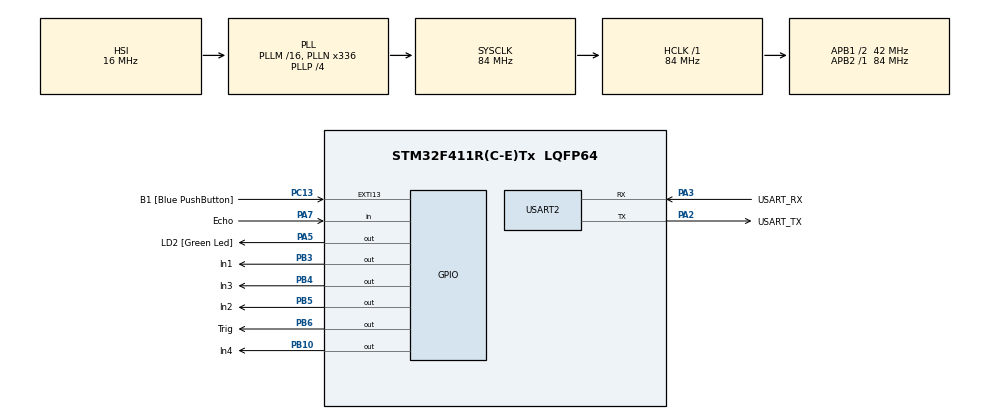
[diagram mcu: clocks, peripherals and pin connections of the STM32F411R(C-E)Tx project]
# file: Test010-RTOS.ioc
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FREERTOS.BinarySemaphores01=myBinarySem01,Dynamic,NULL
FREERTOS.Tasks01=myTask01,0,128,myStartTask01,Default,NULL,Dynamic,NULL,NULL;myTask02,-1,128,myStartTask02,Default,NULL,Dynamic,NULL,NULL;myTask03,-2,128,myStartTask03,Default,NULL,Dynamic,NULL,NULL;myTask04,-3,512,myStartTask04,Default,NULL,Dynamic,NULL,NULL
FREERTOS.configUSE_NEWLIB_REENTRANT=1
Mcu.Family=STM32F4
Mcu.Name=STM32F411R(C-E)Tx
Mcu.Package=LQFP64
NVIC.EXTI15_10_IRQn=true\:5\:0\:false\:false\:true\:true\:true\:true\:true
NVIC.PriorityGroup=NVIC_PRIORITYGROUP_4
NVIC.TIM1_UP_TIM10_IRQn=true\:5\:0\:false\:false\:true\:false\:false\:true\:true
NVIC.TimeBase=TIM1_UP_TIM10_IRQn
NVIC.TimeBaseIP=TIM10
PA13.GPIO_Label=TMS
PA13.Mode=Serial_Wire
PA13.Signal=SYS_JTMS-SWDIO
PA14.GPIO_Label=TCK
PA14.Mode=Serial_Wire
PA14.Signal=SYS_JTCK-SWCLK
PA2.GPIO_Label=USART_TX
PA2.Mode=Asynchronous
PA2.Signal=USART2_TX
PA3.GPIO_Label=USART_RX
PA3.Mode=Asynchronous
PA3.Signal=USART2_RX
PA5.GPIO_Label=LD2 [Green Led]
PA5.Signal=GPIO_Output
PA7.GPIO_Label=Echo
PA7.Signal=GPIO_Input
PB10.GPIO_Label=In4
PB10.Signal=GPIO_Output
PB3.GPIO_Label=In1
PB3.Signal=GPIO_Output
PB4.GPIO_Label=In3
PB4.Signal=GPIO_Output
PB5.GPIO_Label=In2
PB5.Signal=GPIO_Output
PB6.GPIO_Label=Trig
PB6.Signal=GPIO_Output
PC13-ANTI_TAMP.GPIO_Label=B1 [Blue PushButton]
PC13-ANTI_TAMP.GPIO_ModeDefaultEXTI=GPIO_MODE_IT_FALLING
PC13-ANTI_TAMP.Signal=GPXTI13
PC14-OSC32_IN.Mode=LSE-External-Oscillator
PC14-OSC32_IN.Signal=RCC_OSC32_IN
PC15-OSC32_OUT.Mode=LSE-External-Oscillator
PC15-OSC32_OUT.Signal=RCC_OSC32_OUT
PH0\ -\ OSC_IN.Mode=HSE-External-Clock-Source
PH0\ -\ OSC_IN.Signal=RCC_OSC_IN
PH1\ -\ OSC_OUT.Mode=HSE-External-Clock-Source
PH1\ -\ OSC_OUT.Signal=RCC_OSC_OUT
ProjectManager.HeapSize=0x200
ProjectManager.StackSize=0x400
ProjectManager.TargetToolchain=STM32CubeIDE
RCC.48MHZClocksFreq_Value=84000000
RCC.AHBFreq_Value=84000000
RCC.APB1CLKDivider=RCC_HCLK_DIV2
RCC.APB1Freq_Value=42000000
RCC.APB1TimFreq_Value=84000000
RCC.APB2Freq_Value=84000000
RCC.APB2TimFreq_Value=84000000
RCC.CortexFreq_Value=84000000
RCC.FLatency-AdvancedSettings=FLASH_LATENCY_2
RCC.HCLKFreq_Value=84000000
RCC.HSE_VALUE=8000000
RCC.HSI_VALUE=16000000
RCC.PLLN=336
RCC.PLLP=RCC_PLLP_DIV4
RCC.SYSCLKFreq_VALUE=84000000
RCC.SYSCLKSource=RCC_SYSCLKSOURCE_PLLCLK
RCC.VCOOutputFreq_Value=336000000
TIM2.Prescaler=84-1
USART2.VirtualMode=VM_ASYNC
VP_FREERTOS_VS_CMSIS_V1.Mode=CMSIS_V1
VP_SYS_VS_tim10.Mode=TIM10
VP_TIM2_VS_ClockSourceINT.Mode=Internal
board=NUCLEO-F411RE

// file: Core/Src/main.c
/* USER CODE BEGIN Header */
/**
  ******************************************************************************
  * @file           : main.c
  * @brief          : Main program body
  ******************************************************************************
  * @attention
  *
  * Copyright (c) 2025 STMicroelectronics.
  * All rights reserved.
  *
  * This software is licensed under terms that can be found in the LICENSE file
  * in the root directory of this software component.
  * If no LICENSE file comes with this software, it is provided AS-IS.
  *
  ******************************************************************************
  */
/* USER CODE END Header */
#include "main.h"
#include "cmsis_os.h"

/* USER CODE BEGIN Includes */
#include "C:\Users\user\source\repos\STM32\myLib\Inc\uSonic.h"
/* USER CODE END Includes */

TIM_HandleTypeDef htim2;

UART_HandleTypeDef huart2;

osThreadId myTask01Handle;
osThreadId myTask02Handle;
osThreadId myTask03Handle;
osThreadId myTask04Handle;
osSemaphoreId myBinarySem01Handle;

void SystemClock_Config(void);
static void MX_GPIO_Init(void);
static void MX_USART2_UART_Init(void);
static void MX_TIM2_Init(void);
void myStartTask01(void const * argument);
void myStartTask02(void const * argument);
void myStartTask03(void const * argument);
void myStartTask04(void const * argument);

/* USER CODE BEGIN 0 */
int mode = 0, bn = 0;
double dist = 1000;
void HAL_GPIO_EXTI_Callback(uint16_t GPIO_Pin)
{
	//printf("B1 button pressed..... %d times\r\n", bn++);
	/*bn++;
	mode = 1;*/

	//osSemaphoreRelease(myBinarySem01Handle);
}

void LD2Test() {
	HAL_GPIO_TogglePin(LD2_GPIO_Port, LD2_Pin);
}
/* USER CODE END 0 */

int main(void)
{

  /* MCU Configuration--------------------------------------------------------*/

  /* Reset of all peripherals, Initializes the Flash interface and the Systick. */
  HAL_Init();

  /* Configure the system clock */
  SystemClock_Config();

  /* Initialize all configured peripherals */
  MX_GPIO_Init();
  MX_USART2_UART_Init();
  MX_TIM2_Init();

  /* Create the semaphores(s) */
  /* definition and creation of myBinarySem01 */
  osSemaphoreDef(myBinarySem01);
  myBinarySem01Handle = osSemaphoreCreate(osSemaphore(myBinarySem01), 1);

  /* Create the thread(s) */
  /* definition and creation of myTask01 */
  osThreadDef(myTask01, myStartTask01, osPriorityNormal, 0, 128);
  myTask01Handle = osThreadCreate(osThread(myTask01), NULL);

  /* definition and creation of myTask02 */
  osThreadDef(myTask02, myStartTask02, osPriorityBelowNormal, 0, 128);
  myTask02Handle = osThreadCreate(osThread(myTask02), NULL);

  /* definition and creation of myTask03 */
  osThreadDef(myTask03, myStartTask03, osPriorityLow, 0, 128);
  myTask03Handle = osThreadCreate(osThread(myTask03), NULL);

  /* definition and creation of myTask04 */
  osThreadDef(myTask04, myStartTask04, osPriorityIdle, 0, 512);
  myTask04Handle = osThreadCreate(osThread(myTask04), NULL);

  /* USER CODE BEGIN RTOS_THREADS */
  /* add threads, ... */
  ProgramStart("RTOS test.........");
  HAL_TIM_Base_Start(&htim2);
  /* USER CODE END RTOS_THREADS */

  /* Start scheduler */
  osKernelStart();

  /* We should never get here as control is now taken by the scheduler */
  /* Infinite loop */
  /* USER CODE BEGIN WHILE */
  while (1)
  {
	  LD2Test();
	  //HAL_Delay(500);	Don't use HAL_Delay (RTOS)
	  osDelay(500);
    /* USER CODE END WHILE */

  }
}

void SystemClock_Config(void)
{
  RCC_OscInitTypeDef RCC_OscInitStruct = {0};
  RCC_ClkInitTypeDef RCC_ClkInitStruct = {0};

  /** Configure the main internal regulator output voltage
  */
  __HAL_RCC_PWR_CLK_ENABLE();
  __HAL_PWR_VOLTAGESCALING_CONFIG(PWR_REGULATOR_VOLTAGE_SCALE1);

  /** Initializes the RCC Oscillators according to the specified parameters
  * in the RCC_OscInitTypeDef structure.
  */
  RCC_OscInitStruct.OscillatorType = RCC_OSCILLATORTYPE_HSI;
  RCC_OscInitStruct.HSIState = RCC_HSI_ON;
  RCC_OscInitStruct.HSICalibrationValue = RCC_HSICALIBRATION_DEFAULT;
  RCC_OscInitStruct.PLL.PLLState = RCC_PLL_ON;
  RCC_OscInitStruct.PLL.PLLSource = RCC_PLLSOURCE_HSI;
  RCC_OscInitStruct.PLL.PLLM = 16;
  RCC_OscInitStruct.PLL.PLLN = 336;
  RCC_OscInitStruct.PLL.PLLP = RCC_PLLP_DIV4;
  RCC_OscInitStruct.PLL.PLLQ = 4;
  if (HAL_RCC_OscConfig(&RCC_OscInitStruct) != HAL_OK)
  {
    Error_Handler();
  }

  /** Initializes the CPU, AHB and APB buses clocks
  */
  RCC_ClkInitStruct.ClockType = RCC_CLOCKTYPE_HCLK|RCC_CLOCKTYPE_SYSCLK
                              |RCC_CLOCKTYPE_PCLK1|RCC_CLOCKTYPE_PCLK2;
  RCC_ClkInitStruct.SYSCLKSource = RCC_SYSCLKSOURCE_PLLCLK;
  RCC_ClkInitStruct.AHBCLKDivider = RCC_SYSCLK_DIV1;
  RCC_ClkInitStruct.APB1CLKDivider = RCC_HCLK_DIV2;
  RCC_ClkInitStruct.APB2CLKDivider = RCC_HCLK_DIV1;

  if (HAL_RCC_ClockConfig(&RCC_ClkInitStruct, FLASH_LATENCY_2) != HAL_OK)
  {
    Error_Handler();
  }
}

static void MX_TIM2_Init(void)
{

  TIM_ClockConfigTypeDef sClockSourceConfig = {0};
  TIM_MasterConfigTypeDef sMasterConfig = {0};

  htim2.Instance = TIM2;
  htim2.Init.Prescaler = 84-1;
  htim2.Init.CounterMode = TIM_COUNTERMODE_UP;
  htim2.Init.Period = 4294967295;
  htim2.Init.ClockDivision = TIM_CLOCKDIVISION_DIV1;
  htim2.Init.AutoReloadPreload = TIM_AUTORELOAD_PRELOAD_DISABLE;
  if (HAL_TIM_Base_Init(&htim2) != HAL_OK)
  {
    Error_Handler();
  }
  sClockSourceConfig.ClockSource = TIM_CLOCKSOURCE_INTERNAL;
  if (HAL_TIM_ConfigClockSource(&htim2, &sClockSourceConfig) != HAL_OK)
  {
    Error_Handler();
  }
  sMasterConfig.MasterOutputTrigger = TIM_TRGO_RESET;
  sMasterConfig.MasterSlaveMode = TIM_MASTERSLAVEMODE_DISABLE;
  if (HAL_TIMEx_MasterConfigSynchronization(&htim2, &sMasterConfig) != HAL_OK)
  {
    Error_Handler();
  }

}

static void MX_USART2_UART_Init(void)
{

  huart2.Instance = USART2;
  huart2.Init.BaudRate = 115200;
  huart2.Init.WordLength = UART_WORDLENGTH_8B;
  huart2.Init.StopBits = UART_STOPBITS_1;
  huart2.Init.Parity = UART_PARITY_NONE;
  huart2.Init.Mode = UART_MODE_TX_RX;
  huart2.Init.HwFlowCtl = UART_HWCONTROL_NONE;
  huart2.Init.OverSampling = UART_OVERSAMPLING_16;
  if (HAL_UART_Init(&huart2) != HAL_OK)
  {
    Error_Handler();
  }

}

static void MX_GPIO_Init(void)
{
  GPIO_InitTypeDef GPIO_InitStruct = {0};

  /* GPIO Ports Clock Enable */
  __HAL_RCC_GPIOC_CLK_ENABLE();
  __HAL_RCC_GPIOH_CLK_ENABLE();
  __HAL_RCC_GPIOA_CLK_ENABLE();
  __HAL_RCC_GPIOB_CLK_ENABLE();

  /*Configure GPIO pin Output Level */
  HAL_GPIO_WritePin(LD2_GPIO_Port, LD2_Pin, GPIO_PIN_RESET);

  /*Configure GPIO pin Output Level */
  HAL_GPIO_WritePin(GPIOB, In4_Pin|In1_Pin|In3_Pin|In2_Pin
                          |Trig_Pin, GPIO_PIN_RESET);

  /*Configure GPIO pin : B1_Pin */
  GPIO_InitStruct.Pin = B1_Pin;
  GPIO_InitStruct.Mode = GPIO_MODE_IT_FALLING;
  GPIO_InitStruct.Pull = GPIO_NOPULL;
  HAL_GPIO_Init(B1_GPIO_Port, &GPIO_InitStruct);

  /*Configure GPIO pin : LD2_Pin */
  GPIO_InitStruct.Pin = LD2_Pin;
  GPIO_InitStruct.Mode = GPIO_MODE_OUTPUT_PP;
  GPIO_InitStruct.Pull = GPIO_NOPULL;
  GPIO_InitStruct.Speed = GPIO_SPEED_FREQ_LOW;
  HAL_GPIO_Init(LD2_GPIO_Port, &GPIO_InitStruct);

  /*Configure GPIO pin : Echo_Pin */
  GPIO_InitStruct.Pin = Echo_Pin;
  GPIO_InitStruct.Mode = GPIO_MODE_INPUT;
  GPIO_InitStruct.Pull = GPIO_NOPULL;
  HAL_GPIO_Init(Echo_GPIO_Port, &GPIO_InitStruct);

  /*Configure GPIO pins : In4_Pin In1_Pin In3_Pin In2_Pin
                           Trig_Pin */
  GPIO_InitStruct.Pin = In4_Pin|In1_Pin|In3_Pin|In2_Pin
                          |Trig_Pin;
  GPIO_InitStruct.Mode = GPIO_MODE_OUTPUT_PP;
  GPIO_InitStruct.Pull = GPIO_NOPULL;
  GPIO_InitStruct.Speed = GPIO_SPEED_FREQ_LOW;
  HAL_GPIO_Init(GPIOB, &GPIO_InitStruct);

  /* EXTI interrupt init*/
  HAL_NVIC_SetPriority(EXTI15_10_IRQn, 5, 0);
  HAL_NVIC_EnableIRQ(EXTI15_10_IRQn);

}

void myStartTask01(void const * argument)
{
  /* USER CODE BEGIN 5 */
	//int n1 = 0;
  /* Infinite loop */
  for(;;)
  {
	/*LD2Test();
	//HAL_Delay(500);
	Cursor(0, 0);
	printf("LD2 flashed %d times(Task1)\r\n", n1++);
    osDelay(500);*/
	if(osSemaphoreWait(myBinarySem01Handle, 0) == osOK) { // running time is lower than 80ms
		dist = Distance();
		//printf("Task01 (Normal)=====\r\n");
		osSemaphoreRelease(myBinarySem01Handle);
	}
	osDelay(100);
  }
  /* USER CODE END 5 */
}

void myStartTask02(void const * argument)
{
  /* USER CODE BEGIN myStartTask02 */
	//int n2 = 0;
  /* Infinite loop */
  for(;;)
  {
	//Cursor(0, 10);
	/*printf("Input Degree : ");
	scanf("%d", &n2);
	int step = 4096 * n2 / 360;
	printf("Wave(Full) : %d steps, Half : %d steps", step / 2, step);*/

	/*if(mode) {
		printf("B1 button pressed..... %d times", bn);
		if(++t1 > 10) {
			mode = 0;
			t1 = 0;
		}
		else {
			printf("                              ");
		}
	}*/

	/*if(mode) {
		mode = 0;
		for(int i = 0; i < 64 * bn; i++) {
			HAL_GPIO_WritePin(In1_GPIO_Port, In1_Pin, 1);
			HAL_GPIO_WritePin(In2_GPIO_Port, In2_Pin, 0);
			HAL_GPIO_WritePin(In3_GPIO_Port, In3_Pin, 0);
			HAL_GPIO_WritePin(In4_GPIO_Port, In4_Pin, 0);
			osDelay(10);

			HAL_GPIO_WritePin(In1_GPIO_Port, In1_Pin, 1);
			HAL_GPIO_WritePin(In2_GPIO_Port, In2_Pin, 1);
			HAL_GPIO_WritePin(In3_GPIO_Port, In3_Pin, 0);
			HAL_GPIO_WritePin(In4_GPIO_Port, In4_Pin, 0);
			osDelay(10);

			HAL_GPIO_WritePin(In1_GPIO_Port, In1_Pin, 0);
			HAL_GPIO_WritePin(In2_GPIO_Port, In2_Pin, 1);
			HAL_GPIO_WritePin(In3_GPIO_Port, In3_Pin, 0);
			HAL_GPIO_WritePin(In4_GPIO_Port, In4_Pin, 0);
			osDelay(10);

			HAL_GPIO_WritePin(In1_GPIO_Port, In1_Pin, 0);
			HAL_GPIO_WritePin(In2_GPIO_Port, In2_Pin, 1);
			HAL_GPIO_WritePin(In3_GPIO_Port, In3_Pin, 1);
			HAL_GPIO_WritePin(In4_GPIO_Port, In4_Pin, 0);
			osDelay(10);

			HAL_GPIO_WritePin(In1_GPIO_Port, In1_Pin, 0);
			HAL_GPIO_WritePin(In2_GPIO_Port, In2_Pin, 0);
			HAL_GPIO_WritePin(In3_GPIO_Port, In3_Pin, 1);
			HAL_GPIO_WritePin(In4_GPIO_Port, In4_Pin, 0);
			osDelay(10);

			HAL_GPIO_WritePin(In1_GPIO_Port, In1_Pin, 0);
			HAL_GPIO_WritePin(In2_GPIO_Port, In2_Pin, 0);
			HAL_GPIO_WritePin(In3_GPIO_Port, In3_Pin, 1);
			HAL_GPIO_WritePin(In4_GPIO_Port, In4_Pin, 1);
			osDelay(10);

			HAL_GPIO_WritePin(In1_GPIO_Port, In1_Pin, 0);
			HAL_GPIO_WritePin(In2_GPIO_Port, In2_Pin, 0);
			HAL_GPIO_WritePin(In3_GPIO_Port, In3_Pin, 0);
			HAL_GPIO_WritePin(In4_GPIO_Port, In4_Pin, 1);
			osDelay(10);

			HAL_GPIO_WritePin(In1_GPIO_Port, In1_Pin, 1);
			HAL_GPIO_WritePin(In2_GPIO_Port, In2_Pin, 0);
			HAL_GPIO_WritePin(In3_GPIO_Port, In3_Pin, 0);
			HAL_GPIO_WritePin(In4_GPIO_Port, In4_Pin, 1);
			osDelay(10);
		}
		bn = 0;
	}
	else {
		HAL_GPIO_WritePin(In1_GPIO_Port, In1_Pin, 0);
		HAL_GPIO_WritePin(In2_GPIO_Port, In2_Pin, 0);
		HAL_GPIO_WritePin(In3_GPIO_Port, In3_Pin, 0);
		HAL_GPIO_WritePin(In4_GPIO_Port, In4_Pin, 0);
		osDelay(10);
	}
    osDelay(1);*/

	if(osSemaphoreWait(myBinarySem01Handle, 0) == osOK) {
		//printf("Task02 (BelowNormal)----\r\n");

		if(dist < 150.0) {
			int degree = (dist > 75.0) ? 1 : 2;
			for(int i = 0; i < 64 * degree; i++) {
				HAL_GPIO_WritePin(In1_GPIO_Port, In1_Pin, 1);
				HAL_GPIO_WritePin(In2_GPIO_Port, In2_Pin, 0);
				HAL_GPIO_WritePin(In3_GPIO_Port, In3_Pin, 0);
				HAL_GPIO_WritePin(In4_GPIO_Port, In4_Pin, 0);
				HAL_Delay(5);

				HAL_GPIO_WritePin(In1_GPIO_Port, In1_Pin, 0);
				HAL_GPIO_WritePin(In2_GPIO_Port, In2_Pin, 1);
				HAL_GPIO_WritePin(In3_GPIO_Port, In3_Pin, 0);
				HAL_GPIO_WritePin(In4_GPIO_Port, In4_Pin, 0);
				HAL_Delay(5);

				HAL_GPIO_WritePin(In1_GPIO_Port, In1_Pin, 0);
				HAL_GPIO_WritePin(In2_GPIO_Port, In2_Pin, 0);
				HAL_GPIO_WritePin(In3_GPIO_Port, In3_Pin, 1);
				HAL_GPIO_WritePin(In4_GPIO_Port, In4_Pin, 0);
				HAL_Delay(5);

				HAL_GPIO_WritePin(In1_GPIO_Port, In1_Pin, 0);
				HAL_GPIO_WritePin(In2_GPIO_Port, In2_Pin, 0);
				HAL_GPIO_WritePin(In3_GPIO_Port, In3_Pin, 0);
				HAL_GPIO_WritePin(In4_GPIO_Port, In4_Pin, 1);
				HAL_Delay(5);
			}
			bn = 0;
		}
		else {
			HAL_GPIO_WritePin(In1_GPIO_Port, In1_Pin, 0);
			HAL_GPIO_WritePin(In2_GPIO_Port, In2_Pin, 0);
			HAL_GPIO_WritePin(In3_GPIO_Port, In3_Pin, 0);
			HAL_GPIO_WritePin(In4_GPIO_Port, In4_Pin, 0);
			HAL_Delay(5);
		}
		osSemaphoreRelease(myBinarySem01Handle);
	}
	osDelay(100);
  }
  /* USER CODE END myStartTask02 */
}

void myStartTask03(void const * argument)
{
  /* USER CODE BEGIN myStartTask03 */
  /* Infinite loop */
  for(;;)
  {
	  if(osSemaphoreWait(myBinarySem01Handle, 0) == osOK) {
		  //printf("Task03 (Low)****\r\n");
		  LD2Test();
		  osSemaphoreRelease(myBinarySem01Handle);
	  }
	  osDelay(100);
  }
  /* USER CODE END myStartTask03 */
}

void myStartTask04(void const * argument)
{
  /* USER CODE BEGIN myStartTask04 */
  /* Infinite loop */
  for(;;)
  {
	if(osSemaphoreWait(myBinarySem01Handle, 0) == osOK) {
		//printf("Task04 (Idle)+++\r\n");
		Cursor(0, 10);
		printf("distance: %6.2fmm                   \r\n", dist);
		osSemaphoreRelease(myBinarySem01Handle);
	}
	osDelay(100);
  }
  /* USER CODE END myStartTask04 */
}

void HAL_TIM_PeriodElapsedCallback(TIM_HandleTypeDef *htim)
{
  if (htim->Instance == TIM10) {
    HAL_IncTick();
  }
}

void Error_Handler(void)
{
  __disable_irq();
  while (1)
  {
  }
}
